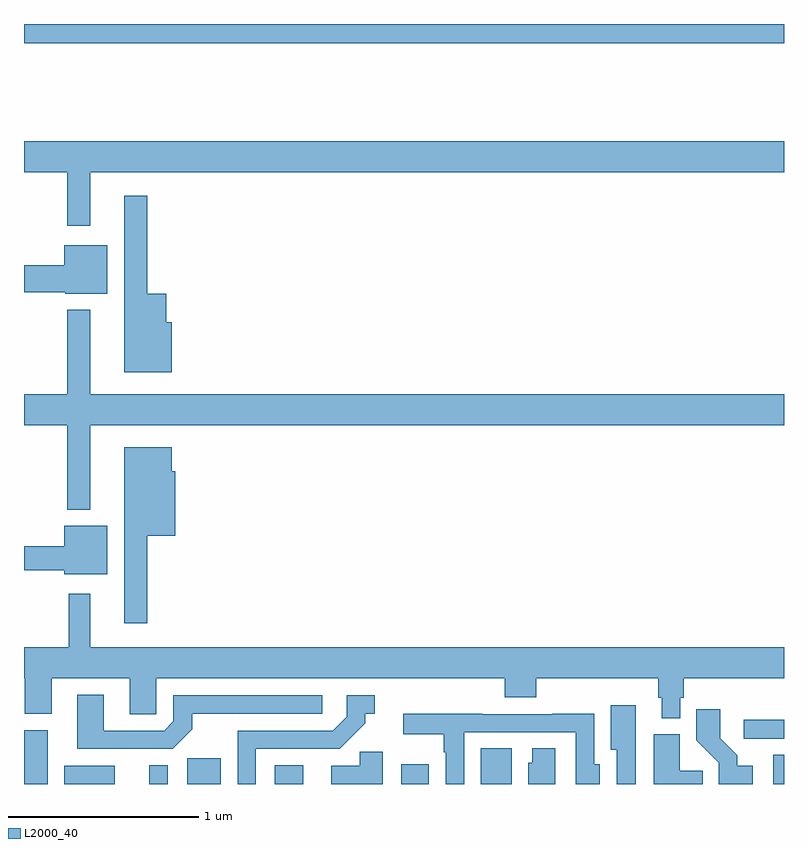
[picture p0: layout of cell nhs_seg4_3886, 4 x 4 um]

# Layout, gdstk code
import gdstk
lib = gdstk.Library(unit=1e-6, precision=1e-09)
def R(c, l, rs):  # rectangles x0, y0, x1, y1
    for r in rs: c.add(gdstk.rectangle(r[:2], r[2:], *l))
def P(c, l, *ps):  # polygons
    for p in ps: c.add(gdstk.Polygon(p, *l))
L2000_40 = (2000, 40)

nhs_seg4_3886 = lib.new_cell('nhs_seg4_3886')
R(nhs_seg4_3886, L2000_40, [(315,826.9,315.124,827.184), (315.212,826.9,315.478,826.996), (315.659,826.9,315.756,827), (315.86,826.9,316.036,827.036), (316.319,826.9,316.471,827), (316.985,826.9,317.131,827.005), (317.405,826.9,317.566,827.087), (318.944,826.9,319,827.054), (318.789,827.139,319,827.238), (315,830.8,319,830.9)])
P(nhs_seg4_3886, L2000_40, [(315.349,830.12),(319,830.12),(319,830.284),(315,830.284),(315,830.12),(315.228,830.12),(315.228,829.839),(315.349,829.839)],
  [(315.778,829.33),(315.748,829.33),(315.748,829.48),(315.649,829.48),(315.649,829.996),(315.527,829.996),(315.527,829.067),(315.778,829.067)],
  [(315.439,829.735),(315.212,829.735),(315.212,829.629),(315,829.629),(315,829.487),(315.216,829.487),(315.216,829.481),(315.439,829.481)],
  [(315.349,828.788),(319,828.788),(319,828.952),(315.349,828.952),(315.349,829.396),(315.228,829.396),(315.228,828.952),(315,828.952),(315,828.788),(315.228,828.788),(315.228,828.344),(315.349,828.344)],
  [(315.649,828.206),(315.796,828.206),(315.796,828.546),(315.778,828.546),(315.778,828.673),(315.527,828.673),(315.527,827.745),(315.649,827.745)],
  [(315.439,828.259),(315.212,828.259),(315.212,828.152),(315,828.152),(315,828.024),(315.212,828.024),(315.212,828.005),(315.439,828.005)],
  [(318.453,827.355),(318.473,827.355),(318.473,827.456),(319,827.456),(319,827.62),(315.349,827.62),(315.349,827.902),(315.235,827.902),(315.235,827.62),(315,827.62),(315,827.456),(315.005,827.456),(315.005,827.269),(315.145,827.269),(315.145,827.456),(315.557,827.456),(315.557,827.266),(315.696,827.266),(315.696,827.456),(317.531,827.456),(317.531,827.357),(317.696,827.357),(317.696,827.456),(318.337,827.456),(318.337,827.355),(318.356,827.355),(318.356,827.246),(318.453,827.246)],
  [(315.885,827.187),(315.885,827.271),(316.57,827.271),(316.57,827.367),(315.786,827.367),(315.786,827.229),(315.738,827.181),(315.421,827.181),(315.421,827.371),(315.281,827.371),(315.281,827.085),(315.783,827.085)],
  [(316.221,827.085),(316.662,827.085),(316.796,827.219),(316.796,827.27),(316.846,827.27),(316.846,827.367),(316.698,827.367),(316.698,827.253),(316.626,827.181),(316.125,827.181),(316.125,826.9),(316.221,826.9)],
  [(318.22,827.314),(318.089,827.314),(318.089,827.081),(318.119,827.081),(318.119,826.9),(318.22,826.9)],
  [(318.835,826.996),(318.754,826.996),(318.754,827.051),(318.664,827.141),(318.664,827.293),(318.538,827.293),(318.538,827.13),(318.657,827.011),(318.657,826.9),(318.835,826.9)],
  [(317.316,827.172),(317.904,827.172),(317.904,826.9),(318.031,826.9),(318.031,827.004),(318,827.004),(318,827.27),(317.779,827.27),(317.779,827.268),(317.413,827.268),(317.413,827.27),(316.995,827.27),(316.995,827.162),(317.208,827.162),(317.208,827.066),(317.22,827.066),(317.22,826.9),(317.316,826.9)],
  [(318.572,826.97),(318.451,826.97),(318.451,827.161),(318.314,827.161),(318.314,826.9),(318.572,826.9)],
  [(317.797,827.087),(317.675,827.087),(317.675,827.013),(317.654,827.013),(317.654,826.9),(317.797,826.9)],
  [(316.888,827.069),(316.768,827.069),(316.768,826.996),(316.617,826.996),(316.617,826.9),(316.888,826.9)])

lib.write_gds('nhs_seg4_3886.gds')
